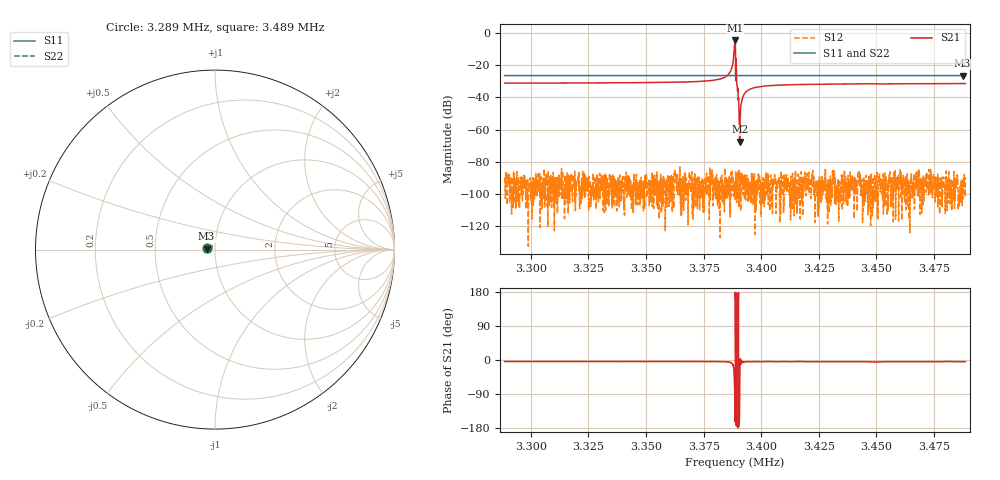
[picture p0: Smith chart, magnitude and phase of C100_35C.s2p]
# Hz S dB R 50.000
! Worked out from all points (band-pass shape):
!   6401 points, 3.289 MHz to 3.489 MHz, reference 50 ohm
!   highest |S21| = -4.64 dB at 3.389 MHz (marker M1); lowest = -67.5 dB at 3.391 MHz (marker M2)
!   |S21| within 3 dB of the highest: 3.388371 MHz to 3.388687 MHz (316 Hz wide, 0.00932 % of centre); 3.388691 MHz to 3.388765 MHz (74.1 Hz wide, 0.00219 % of centre)
!   lowest |S11| = -26.5 dB at 3.487 MHz (marker M3), VSWR 1.10, Z = 45.5 + j0.467 ohm
!   |S11| at or under -10 dB: start of sweep to end of sweep
!   |S22| runs from -26.5 to -26.4 dB; largest |S21 - S12| = 0.59
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3288594  -26.45 172.1  -31.14 -4.0  -90.84 -2.4  -26.41 166.8
3321938  -26.45 172.3  -31.03 -4.1  -101.16 40.6  -26.43 167.1
3355282  -26.46 172.6  -30.74 -4.2  -96.47 -140.3  -26.44 167.4
3382282  -26.46 172.9  -28.55 -4.6  -92.50 128.3  -26.45 167.7
3385813  -26.46 172.9  -25.65 -5.4  -98.63 -35.4  -26.45 167.7
3386938  -26.46 172.9  -22.95 -6.9  -91.53 -7.3  -26.45 167.8
3387469  -26.46 172.9  -20.07 -10.0  -91.79 70.2  -26.45 167.8
3387844  -26.46 172.9  -17.21 -14.5  -96.13 -11.8  -26.45 167.8
3388250  -26.46 172.9  -9.81 -44.9  -95.29 23.8  -26.44 167.8
3388594  -26.46 172.9  -4.64 -122.9  -92.57 0.5  -26.42 167.6
3389250  -26.46 172.9  -25.26 -141.9  -95.72 37.0  -26.45 167.7
3389875  -26.46 172.9  -35.44 -175.4  -89.47 23.5  -26.45 167.7
3390250  -26.46 172.9  -44.25 -170.4  -97.30 0.3  -26.45 167.8
3390625  -26.46 173.0  -67.50 -94.3  -94.84 82.1  -26.46 167.7
3391313  -26.46 173.0  -43.91 -2.9  -90.05 71.6  -26.45 167.8
3392000  -26.47 173.0  -39.72 -5.5  -93.85 15.1  -26.45 167.8
3392906  -26.46 173.0  -37.31 -4.9  -90.80 52.9  -26.45 167.8
3396156  -26.46 173.0  -34.35 -4.4  -91.29 38.0  -26.45 167.8
3421938  -26.47 173.2  -31.88 -4.3  -90.85 86.1  -26.47 168.1
3455282  -26.47 173.5  -31.61 -4.6  -93.77 54.6  -26.48 168.4
3487344  -26.49 173.8  -31.40 -4.5  -91.69 34.4  -26.49 168.7
3488594  -26.48 173.8  -31.40 -4.6  -89.59 -28.1  -26.49 168.7
